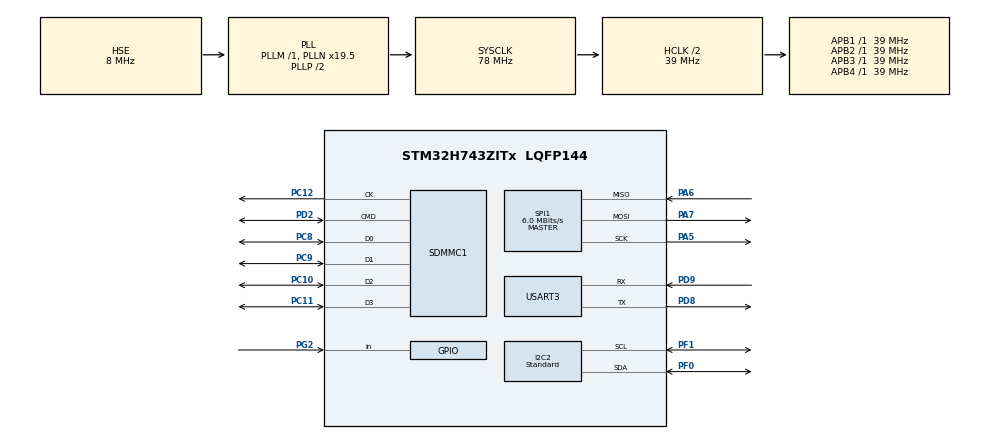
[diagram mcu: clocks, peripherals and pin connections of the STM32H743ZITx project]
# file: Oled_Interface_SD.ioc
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Mcu.Family=STM32H7
Dma.USART3_TX.4.SignalID=NONE
PA6.Mode=Full_Duplex_Master
Dma.SPI1_TX.0.MemInc=DMA_MINC_ENABLE
Dma.SPI1_TX.0.EventEnable=DISABLE
VP_SYS_VS_tim6.Mode=TIM6
Dma.SPI1_TX.0.PeriphInc=DMA_PINC_DISABLE
RCC.CortexFreq_Value=78000000
Dma.SPI1_RX.1.Mode=DMA_NORMAL
FATFS._USE_LFN=3
Dma.SPI1_RX.1.FIFOMode=DMA_FIFOMODE_DISABLE
Dma.USART3_TX.4.Priority=DMA_PRIORITY_LOW
SPI1.VirtualType=VM_MASTER
FATFS0.BSP.api=Unknown
RCC.HPRE=RCC_HCLK_DIV2
NVIC.TIM6_DAC_IRQn=true\:0\:0\:false\:false\:true\:false\:false\:true
VP_FATFS_VS_SDIO.Mode=SDIO
PH0-OSC_IN\ (PH0).Signal=RCC_OSC_IN
PG2.Signal=GPIO_Input
NVIC.DMA1_Stream2_IRQn=true\:0\:0\:false\:false\:true\:true\:false\:true
PC10.Signal=SDMMC1_D2
PC12.Signal=SDMMC1_CK
PC15-OSC32_OUT\ (OSC32_OUT).Mode=LSE-External-Oscillator
Dma.USART3_RX.3.SyncEnable=DISABLE
RCC.PLLFRACN=4096
Dma.SPI1_RX.1.SignalID=NONE
I2C2.Timing=0x009098E4
Dma.SPI1_TX.0.SyncRequestNumber=1
NVIC.DMA1_Stream4_IRQn=true\:0\:0\:false\:false\:true\:true\:false\:true
PD9.Mode=Asynchronous
Dma.USART3_RX.3.Mode=DMA_NORMAL
RCC.SYSCLKSource=RCC_SYSCLKSOURCE_PLLCLK
ProjectManager.StackSize=0x400
Dma.USART3_RX.3.MemDataAlignment=DMA_MDATAALIGN_BYTE
USART3.VirtualMode-Asynchronous=VM_ASYNC
Dma.I2C2_TX.2.SignalID=NONE
Dma.USART3_RX.3.PeriphDataAlignment=DMA_PDATAALIGN_BYTE
Dma.SPI1_RX.1.PeriphInc=DMA_PINC_DISABLE
SPI1.Direction=SPI_DIRECTION_2LINES
Dma.I2C2_TX.2.RequestNumber=1
RCC.HCLKFreq_Value=39000000
I2C2.I2C_Speed_Mode=I2C_Standard
Dma.USART3_TX.4.MemDataAlignment=DMA_MDATAALIGN_BYTE
Dma.SPI1_RX.1.SyncEnable=DISABLE
SPI1.CalculateBaudRate=6.0 MBits/s
PD8.Signal=USART3_TX
Dma.I2C2_TX.2.Direction=DMA_MEMORY_TO_PERIPH
FATFS0.BSP.ip=GPIO
Dma.I2C2_TX.2.SyncRequestNumber=1
Dma.I2C2_TX.2.EventEnable=DISABLE
Dma.USART3_TX.4.EventEnable=DISABLE
Dma.I2C2_TX.2.Priority=DMA_PRIORITY_LOW
RCC.HSE_VALUE=8000000
Dma.SPI1_RX.1.Priority=DMA_PRIORITY_LOW
FATFS0.BSP.i2caddr=0
Dma.USART3_RX.3.Instance=DMA1_Stream3
RCC.DIVM1=1
Dma.USART3_RX.3.Polarity=HAL_DMAMUX_REQ_GEN_RISING
Dma.I2C2_TX.2.MemInc=DMA_MINC_ENABLE
SPI1.DataSize=SPI_DATASIZE_8BIT
PC9.Mode=SD_4_bits_Wide_bus
Dma.I2C2_TX.2.SyncPolarity=HAL_DMAMUX_SYNC_NO_EVENT
Dma.USART3_RX.3.PeriphInc=DMA_PINC_DISABLE
Dma.SPI1_TX.0.RequestNumber=1
VP_FREERTOS_VS_CMSIS_V1.Mode=CMSIS_V1
Dma.SPI1_TX.0.Polarity=HAL_DMAMUX_REQ_GEN_RISING
PF1.GPIO_Speed=GPIO_SPEED_FREQ_LOW
Dma.I2C2_TX.2.SyncEnable=DISABLE
Dma.USART3_TX.4.Direction=DMA_MEMORY_TO_PERIPH
Dma.SPI1_RX.1.Direction=DMA_PERIPH_TO_MEMORY
RCC.APB3Freq_Value=39000000
Dma.SPI1_TX.0.Mode=DMA_NORMAL
Mcu.Package=LQFP144
PA6.Signal=SPI1_MISO
NVIC.TimeBase=TIM6_DAC_IRQn
Dma.SPI1_TX.0.SyncEnable=DISABLE
Dma.I2C2_TX.2.FIFOMode=DMA_FIFOMODE_DISABLE
Dma.USART3_RX.3.SyncSignalID=NONE
FATFS0.BSP.solution=PG2
NVIC.TimeBaseIP=TIM6
PC11.Mode=SD_4_bits_Wide_bus
Dma.USART3_TX.4.Instance=DMA1_Stream4
Dma.USART3_RX.3.MemInc=DMA_MINC_ENABLE
PC14-OSC32_IN\ (OSC32_IN).Mode=LSE-External-Oscillator
RCC.APB4Freq_Value=39000000
Dma.Request2=I2C2_TX
Dma.Request1=SPI1_RX
Dma.Request4=USART3_TX
Dma.Request3=USART3_RX
Dma.I2C2_TX.2.Instance=DMA1_Stream0
NVIC.DMA1_Stream0_IRQn=true\:0\:0\:false\:false\:true\:true\:false\:true
PF0.Signal=I2C2_SDA
Dma.SPI1_RX.1.SyncSignalID=NONE
TIM16.Prescaler=38999
Dma.USART3_TX.4.SyncEnable=DISABLE
Dma.SPI1_TX.0.SyncSignalID=NONE
Dma.Request0=SPI1_TX
Dma.SPI1_RX.1.MemInc=DMA_MINC_ENABLE
PH0-OSC_IN\ (PH0).Mode=HSE-External-Clock-Source
PA5.Mode=Full_Duplex_Master
Dma.USART3_TX.4.FIFOMode=DMA_FIFOMODE_DISABLE
Dma.SPI1_RX.1.Instance=DMA1_Stream2
RCC.PLLSourceVirtual=RCC_PLLSOURCE_HSE
Dma.USART3_TX.4.PeriphInc=DMA_PINC_DISABLE
Dma.USART3_TX.4.RequestNumber=1
FATFS0.BSP.STBoard=false
Dma.I2C2_TX.2.MemDataAlignment=DMA_MDATAALIGN_BYTE
Dma.USART3_RX.3.Direction=DMA_PERIPH_TO_MEMORY
RCC.DIVQ1=13
FREERTOS.Tasks01=defaultTask,0,128,StartDefaultTask,Default,NULL,Dynamic,NULL,NULL;oledTask,-3,128,StartOledTask,Default,NULL,Dynamic,NULL,NULL;interfaceTask,-3,128,StartInterfaceTask,Default,NULL,Dynamic,NULL,NULL
Dma.I2C2_TX.2.SyncSignalID=NONE
PA7.Mode=Full_Duplex_Master
Dma.USART3_RX.3.SyncPolarity=HAL_DMAMUX_SYNC_NO_EVENT
Dma.SPI1_RX.1.MemDataAlignment=DMA_MDATAALIGN_BYTE
Dma.USART3_TX.4.MemInc=DMA_MINC_ENABLE
PC11.Signal=SDMMC1_D3
FATFS0.BSP.mode=Input
Dma.I2C2_TX.2.Polarity=HAL_DMAMUX_REQ_GEN_RISING
PC8.Signal=SDMMC1_D0
PC10.Mode=SD_4_bits_Wide_bus
Dma.I2C2_TX.2.Mode=DMA_NORMAL
VP_TIM16_VS_ClockSourceINT.Mode=Enable_Timer
PD9.Signal=USART3_RX
NVIC.TIM16_IRQn=true\:0\:0\:false\:false\:true\:false\:true\:true
NVIC.DMA1_Stream1_IRQn=true\:0\:0\:false\:false\:true\:true\:false\:true
Dma.SPI1_TX.0.SignalID=NONE
PF0.GPIO_Speed=GPIO_SPEED_FREQ_LOW
FATFS0.BSP.instance=PG2
PF1.Mode=I2C
Dma.SPI1_TX.0.FIFOMode=DMA_FIFOMODE_DISABLE
Dma.USART3_RX.3.SyncRequestNumber=1
Dma.I2C2_TX.2.PeriphDataAlignment=DMA_PDATAALIGN_BYTE
ProjectManager.TargetToolchain=TrueSTUDIO
PC15-OSC32_OUT\ (OSC32_OUT).Signal=RCC_OSC32_OUT
Dma.SPI1_TX.0.PeriphDataAlignment=DMA_PDATAALIGN_BYTE
Dma.SPI1_TX.0.Direction=DMA_MEMORY_TO_PERIPH
Dma.USART3_RX.3.FIFOMode=DMA_FIFOMODE_DISABLE
RCC.DIVN1=19
Dma.SPI1_TX.0.SyncPolarity=HAL_DMAMUX_SYNC_NO_EVENT
RCC.USBFreq_Value=12000000
Dma.USART3_RX.3.EventEnable=DISABLE
Dma.SPI1_RX.1.EventEnable=DISABLE
PD8.Mode=Asynchronous
PD2.Mode=SD_4_bits_Wide_bus
FATFS.BSP.number=1
PA5.Signal=SPI1_SCK
Dma.SPI1_RX.1.RequestNumber=1
Dma.USART3_TX.4.PeriphDataAlignment=DMA_PDATAALIGN_BYTE
PC12.Mode=SD_4_bits_Wide_bus
board=custom
Dma.I2C2_TX.2.PeriphInc=DMA_PINC_DISABLE
Dma.USART3_TX.4.SyncPolarity=HAL_DMAMUX_SYNC_NO_EVENT
NVIC.SPI1_IRQn=true\:0\:0\:false\:false\:true\:true\:true\:true
TIM16.Period=99
RCC.APB2Freq_Value=39000000
SPI1.Mode=SPI_MODE_MASTER
RCC.ADCFreq_Value=16125000
PF1.GPIO_PuPd=GPIO_NOPULL
Dma.USART3_RX.3.RequestNumber=1
Dma.SPI1_RX.1.SyncPolarity=HAL_DMAMUX_SYNC_NO_EVENT
Dma.SPI1_TX.0.Instance=DMA1_Stream1
PF1.Signal=I2C2_SCL
Mcu.Name=STM32H743ZITx
Dma.USART3_TX.4.SyncRequestNumber=1
Dma.SPI1_RX.1.Polarity=HAL_DMAMUX_REQ_GEN_RISING
Dma.SPI1_RX.1.PeriphDataAlignment=DMA_PDATAALIGN_BYTE
PC8.Mode=SD_4_bits_Wide_bus
RCC.SYSCLKFreq_VALUE=78000000
PF0.GPIO_PuPd=GPIO_NOPULL
Dma.USART3_TX.4.Mode=DMA_NORMAL
PC14-OSC32_IN\ (OSC32_IN).Signal=RCC_OSC32_IN
ProjectManager.HeapSize=0x200
PF0.Mode=I2C
Dma.SPI1_TX.0.MemDataAlignment=DMA_MDATAALIGN_BYTE
Dma.SPI1_TX.0.Priority=DMA_PRIORITY_LOW
Dma.USART3_RX.3.SignalID=NONE
Dma.USART3_TX.4.SyncSignalID=NONE
Dma.SPI1_RX.1.SyncRequestNumber=1
NVIC.I2C2_EV_IRQn=true\:0\:0\:false\:false\:true\:true\:true\:true
NVIC.PriorityGroup=NVIC_PRIORITYGROUP_4
Dma.USART3_TX.4.Polarity=HAL_DMAMUX_REQ_GEN_RISING
Dma.USART3_RX.3.Priority=DMA_PRIORITY_LOW
NVIC.DMA1_Stream3_IRQn=true\:0\:0\:false\:false\:true\:true\:false\:true
PC9.Signal=SDMMC1_D1
PD2.Signal=SDMMC1_CMD
RCC.APB1Freq_Value=39000000
FATFS0.BSP.name=Detect_SDIO
PA7.Signal=SPI1_MOSI

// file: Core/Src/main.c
/* USER CODE BEGIN Header */
/**
  ******************************************************************************
  * @file           : main.c
  * @brief          : Main program body
  ******************************************************************************
  * @attention
  *
  * <h2><center>&copy; Copyright (c) 2020 STMicroelectronics.
  * All rights reserved.</center></h2>
  *
  * This software component is licensed by ST under Ultimate Liberty license
  * SLA0044, the "License"; You may not use this file except in compliance with
  * the License. You may obtain a copy of the License at:
  *                             www.st.com/SLA0044
  *
  ******************************************************************************
  */
/* USER CODE END Header */
#include "main.h"
#include "cmsis_os.h"
#include "dma.h"
#include "fatfs.h"
#include "i2c.h"
#include "sdmmc.h"
#include "spi.h"
#include "tim.h"
#include "usart.h"
#include "gpio.h"

/* USER CODE BEGIN Includes */
#include "SSD1306.h"
#include "Interface_manager.h"
#include "Buffer.h"
/* USER CODE END Includes */

/* USER CODE BEGIN PV */
SSD1306* oled;
SSD1306* oled2;
Interface_manager* Interface1;
Interface_manager* Interface2;
/* USER CODE END PV */

void SystemClock_Config(void);
void MX_FREERTOS_Init(void);

int main(void)
{
  /* USER CODE BEGIN 1 */
//	SSD1306::gpio_struct  gpio_reset;
//	gpio_reset.port = OLED_RESET_GPIO_Port;
//	gpio_reset.pin= OLED_RESET_Pin;
//
//	SSD1306::gpio_struct gpio_dc;
//	gpio_dc.port = OLED_DC_GPIO_Port;
//	gpio_dc.pin = OLED_DC_Pin;
//
//	SSD1306::gpio_struct gpio_cs;
//	gpio_cs.port = OLED_CS_GPIO_Port;
//	gpio_cs.pin = OLED_CS_Pin;
//
//	oled = new SSD1306(&hspi2, gpio_reset, gpio_dc, gpio_cs);
	oled2 = new SSD1306(&hi2c2, 0x3C<<1);

//	Interface1=new Interface_manager(&huart2, oled);
	Interface2=new Interface_manager(&huart3, oled2);

  /* USER CODE END 1 */

  /* MCU Configuration--------------------------------------------------------*/

  /* Reset of all peripherals, Initializes the Flash interface and the Systick. */
  HAL_Init();

  /* Configure the system clock */
  SystemClock_Config();

  /* Initialize all configured peripherals */
  MX_GPIO_Init();
  MX_DMA_Init();
  MX_SDMMC1_SD_Init();
  MX_TIM16_Init();
  MX_USART3_UART_Init();
  MX_FATFS_Init();
  MX_SPI1_Init();
  MX_I2C2_Init();
  /* USER CODE BEGIN 2 */
//  oled->ChangeDMA(SET_ON);
//  oled->Init();
//  oled->Fill(Black);
//  HAL_Delay(5);
//  oled->WriteString("HELLO", Font11x18, White, 2, 10);
  oled2->ChangeDMA(SET_ON);
  oled2->Init();
  oled2->Fill(Black);
  oled2->WriteString("HELLO2", Font11x18, White, 2, 10);
  HAL_Delay(1000);
  uint8_t i=0;
  Interface2->interrupt();
  /* USER CODE END 2 */

  /* Call init function for freertos objects (in freertos.c) */
  MX_FREERTOS_Init();
  /* Start scheduler */
  osKernelStart();

  /* We should never get here as control is now taken by the scheduler */
  /* Infinite loop */
  while (1)
  {

  }
}

void SystemClock_Config(void)
{
  RCC_OscInitTypeDef RCC_OscInitStruct = {0};
  RCC_ClkInitTypeDef RCC_ClkInitStruct = {0};
  RCC_PeriphCLKInitTypeDef PeriphClkInitStruct = {0};

  /** Supply configuration update enable
  */
  HAL_PWREx_ConfigSupply(PWR_LDO_SUPPLY);
  /** Configure the main internal regulator output voltage
  */
  __HAL_PWR_VOLTAGESCALING_CONFIG(PWR_REGULATOR_VOLTAGE_SCALE3);

  while(!__HAL_PWR_GET_FLAG(PWR_FLAG_VOSRDY)) {}
  /** Initializes the RCC Oscillators according to the specified parameters
  * in the RCC_OscInitTypeDef structure.
  */
  RCC_OscInitStruct.OscillatorType = RCC_OSCILLATORTYPE_HSE;
  RCC_OscInitStruct.HSEState = RCC_HSE_BYPASS;
  RCC_OscInitStruct.PLL.PLLState = RCC_PLL_ON;
  RCC_OscInitStruct.PLL.PLLSource = RCC_PLLSOURCE_HSE;
  RCC_OscInitStruct.PLL.PLLM = 1;
  RCC_OscInitStruct.PLL.PLLN = 19;
  RCC_OscInitStruct.PLL.PLLP = 2;
  RCC_OscInitStruct.PLL.PLLQ = 13;
  RCC_OscInitStruct.PLL.PLLR = 2;
  RCC_OscInitStruct.PLL.PLLRGE = RCC_PLL1VCIRANGE_3;
  RCC_OscInitStruct.PLL.PLLVCOSEL = RCC_PLL1VCOMEDIUM;
  RCC_OscInitStruct.PLL.PLLFRACN = 4096;
  if (HAL_RCC_OscConfig(&RCC_OscInitStruct) != HAL_OK)
  {
    Error_Handler();
  }
  /** Initializes the CPU, AHB and APB buses clocks
  */
  RCC_ClkInitStruct.ClockType = RCC_CLOCKTYPE_HCLK|RCC_CLOCKTYPE_SYSCLK
                              |RCC_CLOCKTYPE_PCLK1|RCC_CLOCKTYPE_PCLK2
                              |RCC_CLOCKTYPE_D3PCLK1|RCC_CLOCKTYPE_D1PCLK1;
  RCC_ClkInitStruct.SYSCLKSource = RCC_SYSCLKSOURCE_PLLCLK;
  RCC_ClkInitStruct.SYSCLKDivider = RCC_SYSCLK_DIV1;
  RCC_ClkInitStruct.AHBCLKDivider = RCC_HCLK_DIV2;
  RCC_ClkInitStruct.APB3CLKDivider = RCC_APB3_DIV1;
  RCC_ClkInitStruct.APB1CLKDivider = RCC_APB1_DIV1;
  RCC_ClkInitStruct.APB2CLKDivider = RCC_APB2_DIV1;
  RCC_ClkInitStruct.APB4CLKDivider = RCC_APB4_DIV1;

  if (HAL_RCC_ClockConfig(&RCC_ClkInitStruct, FLASH_LATENCY_0) != HAL_OK)
  {
    Error_Handler();
  }
  PeriphClkInitStruct.PeriphClockSelection = RCC_PERIPHCLK_USART3|RCC_PERIPHCLK_SPI1
                              |RCC_PERIPHCLK_SDMMC|RCC_PERIPHCLK_I2C2;
  PeriphClkInitStruct.SdmmcClockSelection = RCC_SDMMCCLKSOURCE_PLL;
  PeriphClkInitStruct.Spi123ClockSelection = RCC_SPI123CLKSOURCE_PLL;
  PeriphClkInitStruct.Usart234578ClockSelection = RCC_USART234578CLKSOURCE_D2PCLK1;
  PeriphClkInitStruct.I2c123ClockSelection = RCC_I2C123CLKSOURCE_D2PCLK1;
  if (HAL_RCCEx_PeriphCLKConfig(&PeriphClkInitStruct) != HAL_OK)
  {
    Error_Handler();
  }
}

void HAL_TIM_PeriodElapsedCallback(TIM_HandleTypeDef *htim)
{
  if (htim->Instance == TIM6) {
    HAL_IncTick();
  }
}

void Error_Handler(void)
{
}

/************************ (C) COPYRIGHT STMicroelectronics *****END OF FILE****/

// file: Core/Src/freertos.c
/* USER CODE BEGIN Header */
/**
  ******************************************************************************
  * File Name          : freertos.c
  * Description        : Code for freertos applications
  ******************************************************************************
  * @attention
  *
  * <h2><center>&copy; Copyright (c) 2020 STMicroelectronics.
  * All rights reserved.</center></h2>
  *
  * This software component is licensed by ST under Ultimate Liberty license
  * SLA0044, the "License"; You may not use this file except in compliance with
  * the License. You may obtain a copy of the License at:
  *                             www.st.com/SLA0044
  *
  ******************************************************************************
  */
/* USER CODE END Header */

#include "FreeRTOS.h"
#include "task.h"
#include "main.h"
#include "cmsis_os.h"

osThreadId defaultTaskHandle;
osThreadId oledTaskHandle;
osThreadId interfaceTaskHandle;

void StartDefaultTask(void const * argument);
void StartOledTask(void const * argument);
void StartInterfaceTask(void const * argument);

void MX_FREERTOS_Init(void); /* (MISRA C 2004 rule 8.1) */

/* GetIdleTaskMemory prototype (linked to static allocation support) */
void vApplicationGetIdleTaskMemory( StaticTask_t **ppxIdleTaskTCBBuffer, StackType_t **ppxIdleTaskStackBuffer, uint32_t *pulIdleTaskStackSize );

/* USER CODE BEGIN GET_IDLE_TASK_MEMORY */
static StaticTask_t xIdleTaskTCBBuffer;
static StackType_t xIdleStack[configMINIMAL_STACK_SIZE];

void vApplicationGetIdleTaskMemory( StaticTask_t **ppxIdleTaskTCBBuffer, StackType_t **ppxIdleTaskStackBuffer, uint32_t *pulIdleTaskStackSize )
{
  *ppxIdleTaskTCBBuffer = &xIdleTaskTCBBuffer;
  *ppxIdleTaskStackBuffer = &xIdleStack[0];
  *pulIdleTaskStackSize = configMINIMAL_STACK_SIZE;
  /* place for user code */
}
/* USER CODE END GET_IDLE_TASK_MEMORY */

void MX_FREERTOS_Init(void) {

  /* Create the thread(s) */
  /* definition and creation of defaultTask */
  osThreadDef(defaultTask, StartDefaultTask, osPriorityNormal, 0, 128);
  defaultTaskHandle = osThreadCreate(osThread(defaultTask), NULL);

  /* definition and creation of oledTask */
  osThreadDef(oledTask, StartOledTask, osPriorityIdle, 0, 128);
  oledTaskHandle = osThreadCreate(osThread(oledTask), NULL);

  /* definition and creation of interfaceTask */
  osThreadDef(interfaceTask, StartInterfaceTask, osPriorityIdle, 0, 128);
  interfaceTaskHandle = osThreadCreate(osThread(interfaceTask), NULL);

}

void StartDefaultTask(void const * argument)
{
  for(;;)
  {
    osDelay(1);
  }
}

void StartOledTask(void const * argument)
{
  for(;;)
  {
    osDelay(1);
  }
}

void StartInterfaceTask(void const * argument)
{
  for(;;)
  {
    osDelay(1);
  }
}

/************************ (C) COPYRIGHT STMicroelectronics *****END OF FILE****/
